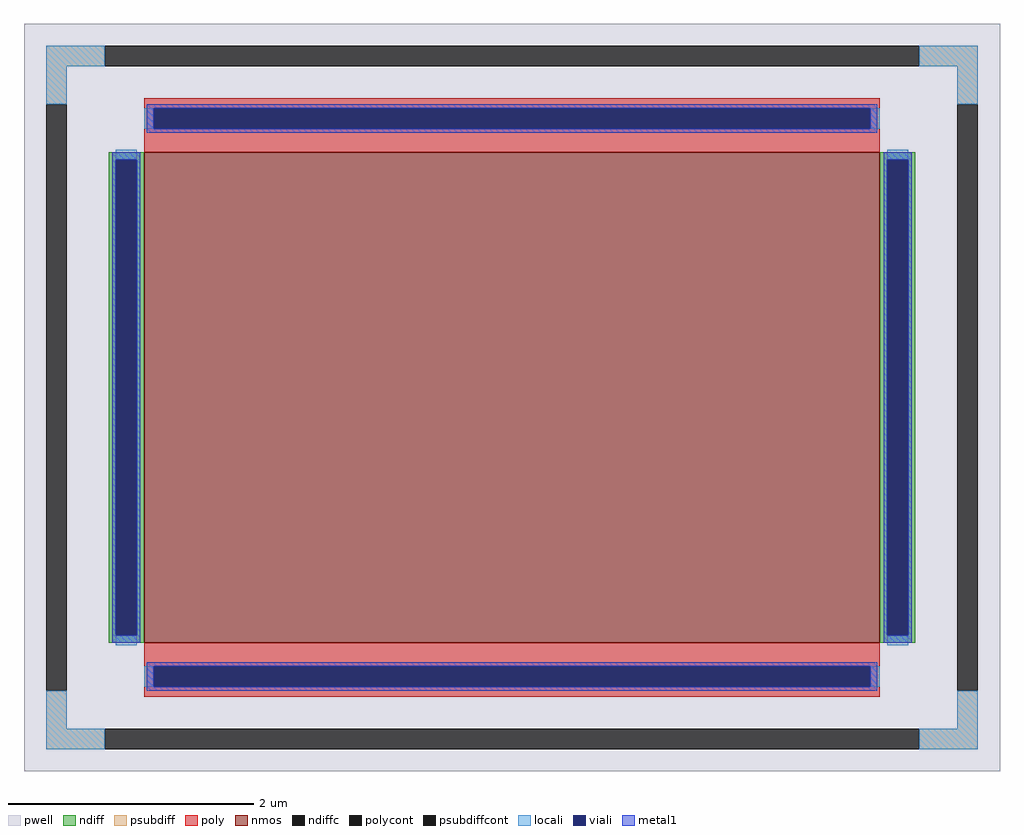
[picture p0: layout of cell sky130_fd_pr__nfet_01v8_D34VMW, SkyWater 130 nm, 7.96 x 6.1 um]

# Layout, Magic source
magic
tech sky130A
<< pwell >>
rect -398 -305 398 305
<< nmos >>
rect -300 -200 300 200
<< ndiff >>
rect -329 194 -300 200
rect -329 -194 -323 194
rect -306 -194 -300 194
rect -329 -200 -300 -194
rect 300 194 329 200
rect 300 -194 306 194
rect 323 -194 329 194
rect 300 -200 329 -194
<< ndiffc >>
rect -323 -194 -306 194
rect 306 -194 323 194
<< psubdiff >>
rect -380 270 -332 287
rect 332 270 380 287
rect -380 239 -363 270
rect 363 239 380 270
rect -380 -270 -363 -239
rect 363 -270 380 -239
rect -380 -287 -332 -270
rect 332 -287 380 -270
<< psubdiffcont >>
rect -332 270 332 287
rect -380 -239 -363 239
rect 363 -239 380 239
rect -332 -287 332 -270
<< poly >>
rect -300 236 300 244
rect -300 219 -292 236
rect 292 219 300 236
rect -300 200 300 219
rect -300 -219 300 -200
rect -300 -236 -292 -219
rect 292 -236 300 -219
rect -300 -244 300 -236
<< polycont >>
rect -292 219 292 236
rect -292 -236 292 -219
<< locali >>
rect -380 270 -332 287
rect 332 270 380 287
rect -380 239 -363 270
rect 363 239 380 270
rect -300 219 -292 236
rect 292 219 300 236
rect -323 194 -306 202
rect -323 -202 -306 -194
rect 306 194 323 202
rect 306 -202 323 -194
rect -300 -236 -292 -219
rect 292 -236 300 -219
rect -380 -270 -363 -239
rect 363 -270 380 -239
rect -380 -287 -332 -270
rect 332 -287 380 -270
<< viali >>
rect -292 219 292 236
rect -323 -194 -306 194
rect 306 -194 323 194
rect -292 -236 292 -219
<< metal1 >>
rect -298 236 298 239
rect -298 219 -292 236
rect 292 219 298 236
rect -298 216 298 219
rect -326 194 -303 200
rect -326 -194 -323 194
rect -306 -194 -303 194
rect -326 -200 -303 -194
rect 303 194 326 200
rect 303 -194 306 194
rect 323 -194 326 194
rect 303 -200 326 -194
rect -298 -219 298 -216
rect -298 -236 -292 -219
rect 292 -236 298 -219
rect -298 -239 298 -236
<< properties >>
string FIXED_BBOX -371 -278 371 278
string gencell sky130_fd_pr__nfet_01v8
string library sky130
string parameters w 4 l 6 m 1 nf 1 diffcov 100 polycov 100 guard 1 glc 1 grc 1 gtc 1 gbc 1 tbcov 100 rlcov 100 topc 1 botc 1 poverlap 0 doverlap 1 lmin 0.15 wmin 0.42 compatible {sky130_fd_pr__nfet_01v8 sky130_fd_pr__nfet_01v8_lvt  sky130_fd_bs_flash__special_sonosfet_star  sky130_fd_pr__nfet_g5v0d10v5 sky130_fd_pr__nfet_05v0_nvt  sky130_fd_pr__nfet_03v3_nvt} full_metal 1 viasrc 100 viadrn 100 viagate 100 viagb 0 viagr 0 viagl 0 viagt 0
<< end >>
